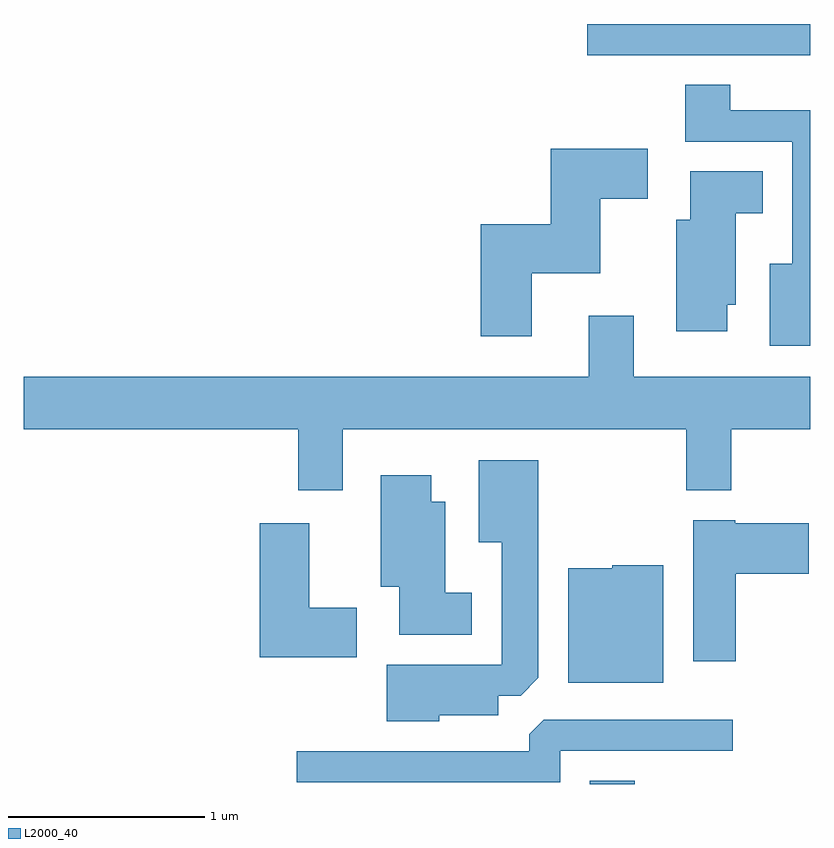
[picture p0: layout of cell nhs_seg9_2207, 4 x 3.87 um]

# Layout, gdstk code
import gdstk
lib = gdstk.Library(unit=1e-6, precision=1e-09)
def R(c, l, rs):  # rectangles x0, y0, x1, y1
    for r in rs: c.add(gdstk.rectangle(r[:2], r[2:], *l))
def P(c, l, *ps):  # polygons
    for p in ps: c.add(gdstk.Polygon(p, *l))
L2000_40 = (2000, 40)

nhs_seg9_2207 = lib.new_cell('nhs_seg9_2207')
R(nhs_seg9_2207, L2000_40, [(252.491,2014.432,252.719,2014.449), (252.478,2018.141,253.611,2018.299)])
P(nhs_seg9_2207, L2000_40, [(253.611,2017.859),(253.204,2017.859),(253.204,2017.989),(252.976,2017.989),(252.976,2017.701),(253.521,2017.701),(253.521,2017.079),(253.406,2017.079),(253.406,2016.661),(253.611,2016.661)],
  [(252.194,2017.031),(252.544,2017.031),(252.544,2017.411),(252.784,2017.411),(252.784,2017.664),(252.291,2017.664),(252.291,2017.279),(251.936,2017.279),(251.936,2016.711),(252.194,2016.711)],
  [(253.189,2016.871),(253.234,2016.871),(253.234,2017.336),(253.369,2017.336),(253.369,2017.549),(253.001,2017.549),(253.001,2017.304),(252.931,2017.304),(252.931,2016.736),(253.189,2016.736)],
  [(251.234,2016.236),(252.981,2016.236),(252.981,2015.926),(253.209,2015.926),(253.209,2016.236),(253.611,2016.236),(253.611,2016.504),(252.714,2016.504),(252.714,2016.814),(252.486,2016.814),(252.486,2016.504),(249.611,2016.504),(249.611,2016.236),(251.006,2016.236),(251.006,2015.926),(251.234,2015.926)],
  [(251.724,2014.781),(252.024,2014.781),(252.024,2014.881),(252.139,2014.881),(252.229,2014.972),(252.229,2016.079),(251.926,2016.079),(251.926,2015.661),(252.041,2015.661),(252.041,2015.039),(251.456,2015.039),(251.456,2014.751),(251.724,2014.751)],
  [(251.889,2015.404),(251.754,2015.404),(251.754,2015.869),(251.684,2015.869),(251.684,2016.004),(251.426,2016.004),(251.426,2015.436),(251.521,2015.436),(251.521,2015.191),(251.889,2015.191)],
  [(253.234,2015.501),(253.604,2015.501),(253.604,2015.759),(253.23,2015.759),(253.23,2015.774),(253.016,2015.774),(253.016,2015.056),(253.234,2015.056)],
  [(251.304,2015.329),(251.064,2015.329),(251.064,2015.759),(250.811,2015.759),(250.811,2015.076),(251.304,2015.076)],
  [(252.864,2015.544),(252.605,2015.544),(252.605,2015.529),(252.381,2015.529),(252.381,2014.946),(252.864,2014.946)],
  [(252.339,2014.601),(253.218,2014.601),(253.218,2014.759),(252.257,2014.759),(252.181,2014.684),(252.181,2014.599),(250.998,2014.599),(250.998,2014.441),(252.339,2014.441)])

lib.write_gds('nhs_seg9_2207.gds')
